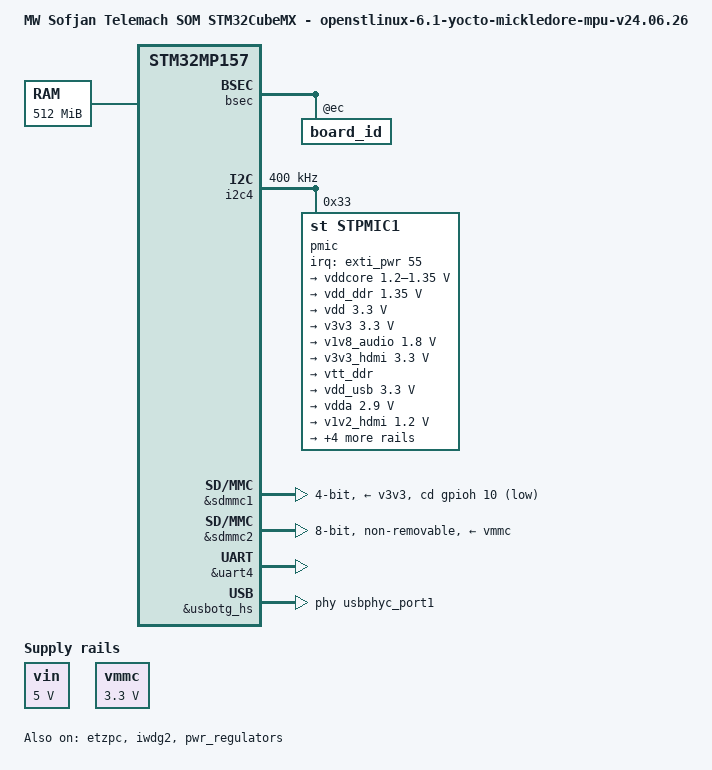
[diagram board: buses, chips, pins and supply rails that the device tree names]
// SPDX-License-Identifier: (GPL-2.0-or-later OR BSD-3-Clause)
/*
 * Copyright (C) 2024, STMicroelectronics - All Rights Reserved
 * Author: STM32CubeMX code generation for STMicroelectronics.
 */

/* For more information on Device Tree configuration, please refer to
 * https://wiki.st.com/stm32mpu/wiki/Category:Device_tree_configuration
 */

/dts-v1/;

#include <dt-bindings/pinctrl/stm32-pinfunc.h>
#include <dt-bindings/clock/stm32mp1-clksrc.h>
#include <dt-bindings/soc/st,stm32-etzpc.h>
#include "stm32mp15-mx.dtsi"

#include "stm32mp157.dtsi"
#include "stm32mp15xc.dtsi"
#include "stm32mp15xxaa-pinctrl.dtsi"
#include "stm32mp15-ddr.dtsi"

/* USER CODE BEGIN includes */
#include <dt-bindings/power/stm32mp1-power.h>
/* USER CODE END includes */

/ {
	model = "MW Sofjan Telemach SOM STM32CubeMX - openstlinux-6.1-yocto-mickledore-mpu-v24.06.26";
	compatible = "st,stm32mp157c-stm32mp1-telemach-som-mx", "st,stm32mp157";

	memory@c0000000 {
		device_type = "memory";
		reg = <0xc0000000 0x20000000>;

		/* USER CODE BEGIN memory */
		/* USER CODE END memory */
	};

	/* USER CODE BEGIN root */
	aliases {
		serial0 = &uart4;
		mmc0 = &sdmmc1;
	};

	chosen {
		stdout-path = "serial0:115200n8";
	};

	vin: vin {
		compatible = "regulator-fixed";
		regulator-name = "vin";
		regulator-min-microvolt = <5000000>;
		regulator-max-microvolt = <5000000>;
		regulator-always-on;
	};

	vmmc: fixedregulator@1 {
		compatible = "regulator-fixed";
		regulator-name = "vmmc";
		regulator-min-microvolt = <3300000>;
		regulator-max-microvolt = <3300000>;
		startup-delay-us = <70000>;
		enable-active-high;
		};

	/* USER CODE END root */

	clocks {
		/* USER CODE BEGIN clocks */
		/* USER CODE END clocks */

		clk_hsi: clk-hsi {
			clock-frequency = <64000000>;

			/* USER CODE BEGIN clk_hsi */
			/* USER CODE END clk_hsi */
		};
		clk_lse: clk-lse {
			clock-frequency = <32768>;
			st,drive = < LSEDRV_MEDIUM_HIGH >;

			/* USER CODE BEGIN clk_lse */
			/* USER CODE END clk_lse */
		};
		clk_hse: clk-hse {
			clock-frequency = <24000000>;

			/* USER CODE BEGIN clk_hse */
			/* USER CODE END clk_hse */
		};
	};

}; /*root*/

&pinctrl {
	/* USER CODE BEGIN pinctrl */
	/* USER CODE END pinctrl */
};

&pinctrl_z {
	i2c4_pins_z_mx: i2c4_mx-0 {
		pins {
			pinmux = <STM32_PINMUX('Z', 4, AF6)>, /* I2C4_SCL */
					 <STM32_PINMUX('Z', 5, AF6)>; /* I2C4_SDA */
			bias-pull-up;
			drive-open-drain;
			slew-rate = <0>;
		};
	};

	/* USER CODE BEGIN pinctrl_z */
	/* USER CODE END pinctrl_z */
};

&bsec{
	status = "okay";

	/* USER CODE BEGIN bsec */
	board_id: board_id@ec {
 		reg = <0xec 0x4>;
 		st,non-secure-otp;
 	};
	/* USER CODE END bsec */
};

&etzpc{
	status = "okay";
	st,decprot = <
	/*"Non Secured" peripherals*/
	DECPROT(STM32MP1_ETZPC_ADC_ID, DECPROT_NS_RW, DECPROT_UNLOCK)
	DECPROT(STM32MP1_ETZPC_DAC_ID, DECPROT_NS_RW, DECPROT_UNLOCK)
	DECPROT(STM32MP1_ETZPC_DMA1_ID, DECPROT_NS_RW, DECPROT_UNLOCK)
	DECPROT(STM32MP1_ETZPC_DMAMUX_ID, DECPROT_NS_RW, DECPROT_UNLOCK)
	DECPROT(STM32MP1_ETZPC_ETH_ID, DECPROT_NS_RW, DECPROT_UNLOCK)
	DECPROT(STM32MP1_ETZPC_I2C1_ID, DECPROT_NS_RW, DECPROT_UNLOCK)
	DECPROT(STM32MP1_ETZPC_I2C2_ID, DECPROT_NS_RW, DECPROT_UNLOCK)
	DECPROT(STM32MP1_ETZPC_I2C4_ID, DECPROT_NS_RW, DECPROT_UNLOCK)
	DECPROT(STM32MP1_ETZPC_I2C5_ID, DECPROT_NS_RW, DECPROT_UNLOCK)
	DECPROT(STM32MP1_ETZPC_SPI1_ID, DECPROT_NS_RW, DECPROT_UNLOCK)
	DECPROT(STM32MP1_ETZPC_SPI2_ID, DECPROT_NS_RW, DECPROT_UNLOCK)
	DECPROT(STM32MP1_ETZPC_UART4_ID, DECPROT_NS_RW, DECPROT_UNLOCK)
	DECPROT(STM32MP1_ETZPC_UART5_ID, DECPROT_NS_RW, DECPROT_UNLOCK)
	DECPROT(STM32MP1_ETZPC_UART7_ID, DECPROT_NS_RW, DECPROT_UNLOCK)
	DECPROT(STM32MP1_ETZPC_OTG_ID, DECPROT_NS_RW, DECPROT_UNLOCK)
	/*"NS_R S_W" peripherals*/
	DECPROT(STM32MP1_ETZPC_DDRCTRL_ID, DECPROT_NS_R_S_W, DECPROT_LOCK)
	DECPROT(STM32MP1_ETZPC_DDRPHYC_ID, DECPROT_NS_R_S_W, DECPROT_LOCK)
	/*"Secured" peripherals*/
	DECPROT(STM32MP1_ETZPC_STGENC_ID, DECPROT_S_RW, DECPROT_UNLOCK)
	/*"Mcu Isolation" peripherals*/
	DECPROT(STM32MP1_ETZPC_DMA2_ID, DECPROT_MCU_ISOLATION, DECPROT_UNLOCK)

	/*Restriction: following IDs are not managed  - please to use User-Section if needed:
		  STM32MP1_ETZPC_SRAMx_ID  STM32MP1_ETZPC_RETRAM_ID  STM32MP1_ETZPC_BKPSRAM_ID*/

	/* USER CODE BEGIN etzpc_decprot */
		/*STM32CubeMX generates a basic and standard configuration for ETZPC.
		Additional device configurations can be added here if needed.
		"etzpc" node could be also overloaded in "addons" User-Section.*/
	/* USER CODE END etzpc_decprot */
	>;

	/* USER CODE BEGIN etzpc */
	/* USER CODE END etzpc */
};

&i2c4{
	pinctrl-names = "default";
	pinctrl-0 = <&i2c4_pins_z_mx>;
	status = "okay";

	/* USER CODE BEGIN i2c4 */
	i2c-scl-rising-time-ns = <185>;
	i2c-scl-falling-time-ns = <20>;
	clock-frequency = <400000>;

	pmic: stpmic@33 {
		compatible = "st,stpmic1";
		reg = <0x33>;
		interrupts-extended = <&exti_pwr 55 IRQ_TYPE_EDGE_FALLING>;
		interrupt-controller;
		#interrupt-cells = <2>;
		status = "okay";
		secure-status = "okay";

		regulators {
			compatible = "st,stpmic1-regulators";
			buck1-supply = <&vin>;
			buck2-supply = <&vin>;
			buck3-supply = <&vin>;
			buck4-supply = <&vin>;
			ldo1-supply = <&v3v3>;
			ldo2-supply = <&vin>;
			ldo3-supply = <&vdd_ddr>;
			ldo4-supply = <&vin>;
			ldo5-supply = <&vin>;
			ldo6-supply = <&v3v3>;
			vref_ddr-supply = <&vin>;
			boost-supply = <&vin>;
			pwr_sw1-supply = <&bst_out>;
			pwr_sw2-supply = <&bst_out>;

			vddcore: buck1 {
				regulator-name = "vddcore";
				regulator-min-microvolt = <1200000>;
				regulator-max-microvolt = <1350000>;
				regulator-always-on;
				regulator-initial-mode = <0>;
				regulator-over-current-protection;
			};

			vdd_ddr: buck2 {
				regulator-name = "vdd_ddr";
				regulator-min-microvolt = <1350000>;
				regulator-max-microvolt = <1350000>;
				regulator-always-on;
				regulator-initial-mode = <0>;
				regulator-over-current-protection;
			};

			vdd: buck3 {
				regulator-name = "vdd";
				regulator-min-microvolt = <3300000>;
				regulator-max-microvolt = <3300000>;
				regulator-always-on;
				st,mask-reset;
				regulator-initial-mode = <0>;
				regulator-over-current-protection;
			};

			v3v3: buck4 {
				regulator-name = "v3v3";
				regulator-min-microvolt = <3300000>;
				regulator-max-microvolt = <3300000>;
				regulator-always-on;
				regulator-over-current-protection;
				regulator-initial-mode = <0>;
			};

			v1v8_audio: ldo1 {
				regulator-name = "v1v8_audio";
				regulator-min-microvolt = <1800000>;
				regulator-max-microvolt = <1800000>;
				regulator-always-on;
			};

			v3v3_hdmi: ldo2 {
				regulator-name = "v3v3_hdmi";
				regulator-min-microvolt = <3300000>;
				regulator-max-microvolt = <3300000>;
				regulator-always-on;
			};

			vtt_ddr: ldo3 {
				regulator-name = "vtt_ddr";
				regulator-always-on;
				regulator-over-current-protection;
				st,regulator-sink-source;
			};

			vdd_usb: ldo4 {
				regulator-name = "vdd_usb";
				regulator-min-microvolt = <3300000>;
				regulator-max-microvolt = <3300000>;
			};

			vdda: ldo5 {
				regulator-name = "vdda";
				regulator-min-microvolt = <2900000>;
				regulator-max-microvolt = <2900000>;
				regulator-boot-on;
			};

			v1v2_hdmi: ldo6 {
				regulator-name = "v1v2_hdmi";
				regulator-min-microvolt = <1200000>;
				regulator-max-microvolt = <1200000>;
				regulator-always-on;
			};

			vref_ddr: vref_ddr {
				regulator-name = "vref_ddr";
				regulator-always-on;
			};

			bst_out: boost {
				regulator-name = "bst_out";
			};

			vbus_otg: pwr_sw1 {
				regulator-name = "vbus_otg";
			};

			vbus_sw: pwr_sw2 {
				regulator-name = "vbus_sw";
				regulator-active-discharge = <1>;
			};
		};
	};
	/* USER CODE END i2c4 */
};

&iwdg2{
	status = "okay";

	/* USER CODE BEGIN iwdg2 */
	timeout-sec = <32>;
	secure-timeout-sec = <10>;
	/* USER CODE END iwdg2 */
};

&pwr_regulators{
	status = "okay";

	/* USER CODE BEGIN pwr_regulators */
	system_suspend_supported_soc_modes = <
		STM32_PM_CSLEEP_RUN
		STM32_PM_CSTOP_ALLOW_LP_STOP
		STM32_PM_CSTOP_ALLOW_STANDBY_DDR_SR
	>;
	system_off_soc_mode = <STM32_PM_CSTOP_ALLOW_STANDBY_DDR_OFF>;
	vdd-supply = <&vdd>;
	vdd_3v3_usbfs-supply = <&vdd_usb>;
	/* USER CODE END pwr_regulators */
};

&rcc{
	status = "okay";

	/* USER CODE BEGIN rcc */
	/* USER CODE END rcc */

	st,clksrc = <
		CLK_CKPER_DISABLED
		CLK_STGEN_HSI
		CLK_I2C46_PCLK5
		CLK_MPU_PLL1P
		CLK_AXI_PLL2P
		CLK_MCU_PLL3P
	>;
	st,clkdiv = <
		DIV(DIV_MPU, 1)
		DIV(DIV_AXI, 0)
		DIV(DIV_MCU, 0)
		DIV(DIV_APB1, 1)
		DIV(DIV_APB2, 1)
		DIV(DIV_APB3, 1)
		DIV(DIV_APB4, 1)
		DIV(DIV_APB5, 2)
		DIV(DIV_RTC, 0)
		DIV(DIV_MCO1, 0)
		DIV(DIV_MCO2, 0)
	>;
	st,pll_vco {
		pll1_vco_1299Mhz: pll1-vco-1299Mhz {
			src = < CLK_PLL12_HSE >;
			divmn = < 1 53 >;
			frac = < 0x555 >;
		};
		pll2_vco_1066Mhz: pll2-vco-1066Mhz {
			src = < CLK_PLL12_HSE >;
			divmn = < 2 65 >;
			frac = < 0x1400 >;
		};
		pll3_vco_400Mhz: pll3-vco-400Mhz {
			src = < CLK_PLL3_HSE >;
			divmn = < 2 49 >;
		};
		/* USER CODE BEGIN rcc_st-pll_vco */
		/* USER CODE END rcc_st-pll_vco */
	};

	pll1:st,pll@0 {
		compatible = "st,stm32mp1-pll";
		reg = <0>;

		st,pll = < &pll1_cfg1 >;

		pll1_cfg1: pll1_cfg1 {
			st,pll_vco = < &pll1_vco_1299Mhz >;
			st,pll_div_pqr = < 0 1 1 >;
		};
		/* USER CODE BEGIN pll1 */
		/* USER CODE END pll1 */
	};

	pll2:st,pll@1 {
		compatible = "st,stm32mp1-pll";
		reg = <1>;

		st,pll = < &pll2_cfg1 >;

		pll2_cfg1: pll2_cfg1 {
			st,pll_vco = < &pll2_vco_1066Mhz >;
			st,pll_div_pqr = < 1 1 0 >;
		};
		/* USER CODE BEGIN pll2 */
		/* USER CODE END pll2 */
	};

	pll3:st,pll@2 {
		compatible = "st,stm32mp1-pll";
		reg = <2>;

		st,pll = < &pll3_cfg1 >;

		pll3_cfg1: pll3_cfg1 {
			st,pll_vco = < &pll3_vco_400Mhz >;
			st,pll_div_pqr = < 1 3 1 >;
		};
		/* USER CODE BEGIN pll3 */
		/* USER CODE END pll3 */
	};

&sdmmc1{
	pinctrl-names = "default";
	pinctrl-0 = <&sdmmc1_pins_mx>;
	status = "okay";

	/* USER CODE BEGIN sdmmc1 */
	/*broken-cd;*/
	cd-gpios = <&gpioh 10 1>;
	disable-wp;
	st,neg-edge;
	bus-width = <4>;
	vmmc-supply = <&v3v3>;
	/* USER CODE END sdmmc1 */
};

&sdmmc2{
	pinctrl-names = "default";
	pinctrl-0 = <&sdmmc2_pins_mx>;
	status = "okay";

	/* USER CODE BEGIN sdmmc2 */
	non-removable;
	no-sd;
	no-sdio;
	st,neg-edge;
	bus-width = <8>;
	vmmc-supply = <&vmmc>;
    vqmmc-supply = <&vmmc>;
	mmc-ddr-3_3v;
	/* USER CODE END sdmmc2 */
};

&uart4{
	pinctrl-names = "default";
	pinctrl-0 = <&uart4_pins_mx>;
	status = "okay";

	/* USER CODE BEGIN uart4 */
	/* USER CODE END uart4 */
};

&usbotg_hs{
	status = "okay";

	/* USER CODE BEGIN usbotg_hs */
	phys = <&usbphyc_port1 0>;
	phy-names = "usb2-phy";
	usb-role-switch;
	/* USER CODE END usbotg_hs */
};

&usbphyc{
	status = "okay";

	/* USER CODE BEGIN usbphyc */
	phy-supply = <&vdd_usb>;
	/* USER CODE END usbphyc */
};

&usbphyc_port0{
	status = "okay";

	/* USER CODE BEGIN usbphyc_port0 */
	phy-supply = <&vdd_usb>;
	/* USER CODE END usbphyc_port0 */
};

&usbphyc_port1{
	status = "okay";

	/* USER CODE BEGIN usbphyc_port1 */
	phy-supply = <&vdd_usb>;
	/* USER CODE END usbphyc_port1 */
};

/* USER CODE BEGIN addons */
&clk_hse {
	st,digbypass;
};

&cpu0{
	cpu-supply = <&vddcore>;
};

&cpu1{
	cpu-supply = <&vddcore>;
};

/* Low-power states of regulators */
&v1v2_hdmi {
	standby-ddr-sr {
		regulator-off-in-suspend;
	};
	standby-ddr-off {
		regulator-off-in-suspend;
	};
};

&v1v8_audio {
	standby-ddr-sr {
		regulator-off-in-suspend;
	};
	standby-ddr-off {
		regulator-off-in-suspend;
	};
};

&v3v3 {
	lp-stop {
		regulator-suspend-microvolt = <3300000>;
		regulator-on-in-suspend;
	};
	standby-ddr-sr {
		regulator-off-in-suspend;
	};
	standby-ddr-off {
		regulator-off-in-suspend;
	};
};

&v3v3_hdmi {
	standby-ddr-sr {
		regulator-off-in-suspend;
	};
	standby-ddr-off {
		regulator-off-in-suspend;
	};
};

&vdd {
	lp-stop {
		regulator-suspend-microvolt = <3300000>;
		regulator-on-in-suspend;
	};
	standby-ddr-sr {
		regulator-suspend-microvolt = <3300000>;
		regulator-on-in-suspend;
	};
	standby-ddr-off {
		regulator-suspend-microvolt = <3300000>;
		regulator-on-in-suspend;
	};
};

&vdda {
	standby-ddr-sr {
		regulator-off-in-suspend;
	};
	standby-ddr-off {
		regulator-off-in-suspend;
	};
};

&vddcore {
	lp-stop {
		regulator-on-in-suspend;
		regulator-suspend-microvolt = <1200000>;
	};
	standby-ddr-sr {
		regulator-off-in-suspend;
	};
	standby-ddr-off {
		regulator-off-in-suspend;
	};
};

&vdd_ddr {
	lp-stop {
		regulator-suspend-microvolt = <1350000>;
		regulator-on-in-suspend;
	};
	standby-ddr-sr {
		regulator-suspend-microvolt = <1350000>;
		regulator-on-in-suspend;
	};
	standby-ddr-off {
		regulator-off-in-suspend;
	};
};

&vdd_usb {
	standby-ddr-sr {
		regulator-off-in-suspend;
	};
	standby-ddr-off {
		regulator-off-in-suspend;
	};
};

&vref_ddr {
	lp-stop {
		regulator-on-in-suspend;
	};
	standby-ddr-sr {
		regulator-on-in-suspend;
	};
	standby-ddr-off {
		regulator-off-in-suspend;
	};
};

&vtt_ddr {
	lp-stop {
		regulator-off-in-suspend;
	};
	standby-ddr-sr {
		regulator-off-in-suspend;
	};
	standby-ddr-off {
		regulator-off-in-suspend;
	};
};

/* USER CODE END addons */

